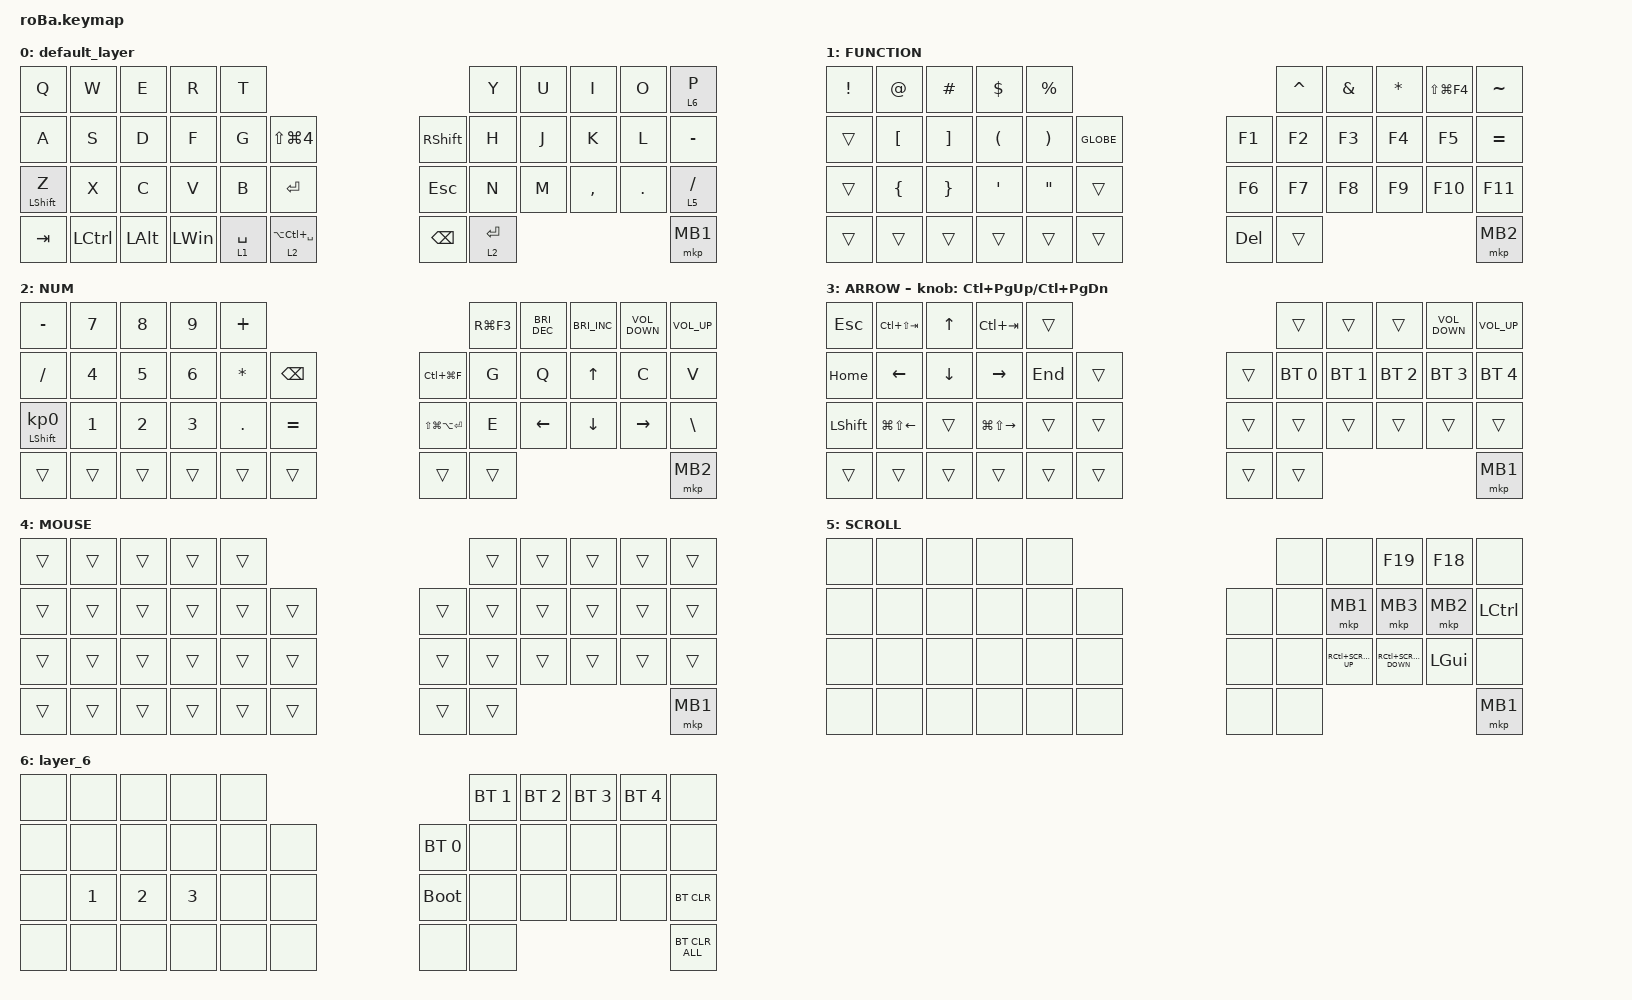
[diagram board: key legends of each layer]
#include <behaviors.dtsi>
#include <dt-bindings/zmk/bt.h>
#include <dt-bindings/zmk/keys.h>
#include <dt-bindings/zmk/pointing.h>

#define MOUSE 4
#define SCROLL 5
#define NUM 6

&mt {
    flavor = "balanced";
    quick-tap-ms = <0>;
};

/ {
    combos {
        compatible = "zmk,combos";

        tab {
            bindings = <&kp TAB>;
            key-positions = <11 12>;
        };

        shift_tab {
            bindings = <&kp LS(TAB)>;
            key-positions = <12 13>;
        };

        muhennkann {
            bindings = <&to_layer_0 INT_MUHENKAN>;
            key-positions = <11 10>;
        };

        double_quotation {
            bindings = <&kp DOUBLE_QUOTES>;
            key-positions = <20 21>;
        };

        eq {
            bindings = <&kp EQUAL>;
            key-positions = <24 25>;
        };

        MB1double {
            bindings = <&mkp MB1>;
            key-positions = <33 42>;
        };
    };

    macros {
        to_layer_0: to_layer_0 {
            compatible = "zmk,behavior-macro-one-param";
            #binding-cells = <1>;
            bindings = <&to 0 &macro_param_1to1 &kp MACRO_PLACEHOLDER>;
            label = "TO_LAYER_0";
        };
    };

    behaviors {
        lt_to_layer_0: lt_to_layer_0 {
            compatible = "zmk,behavior-hold-tap";
            label = "LAYER_TAP_TO_0";
            bindings = <&mo>, <&to_layer_0>;

            #binding-cells = <2>;
            tapping-term-ms = <200>;
        };
    };

    keymap {
        compatible = "zmk,keymap";

        default_layer {
            bindings = <
&kp Q             &kp W      &kp E         &kp R     &kp T                                                             &kp Y        &kp U  &kp I      &kp O       &lt 6 P
&kp A             &kp S      &kp D         &kp F     &kp G        &kp LS(LG(NUMBER_4))                &kp RIGHT_SHIFT  &kp H        &kp J  &kp K      &kp L       &kp MINUS
&mt LEFT_SHIFT Z  &kp X      &kp C         &kp V     &kp B        &kp RET                             &kp ESCAPE       &kp N        &kp M  &kp COMMA  &kp PERIOD  &lt 5 SLASH
&kp TAB           &kp LCTRL  &kp LEFT_ALT  &kp LWIN  &lt 1 SPACE  &lt_to_layer_0 2 LA(LC(SPACE))      &kp BACKSPACE    &lt 2 ENTER                                &mkp MB1
            >;
        };

        FUNCTION {
            bindings = <
&kp EXCLAMATION  &kp AT_SIGN       &kp HASH           &kp DOLLAR            &kp PERCENT                                    &kp CARET  &kp AMPERSAND  &kp ASTERISK  &kp LS(LG(F4))  &kp TILDE
&trans           &kp LEFT_BRACKET  &kp RIGHT_BRACKET  &kp LEFT_PARENTHESIS  &kp RIGHT_PARENTHESIS  &kp GLOBE      &kp F1   &kp F2     &kp F3         &kp F4        &kp F5          &kp EQUAL
&trans           &kp LEFT_BRACE    &kp RIGHT_BRACE    &kp SQT               &kp DOUBLE_QUOTES      &trans         &kp F6   &kp F7     &kp F8         &kp F9        &kp F10         &kp F11
&trans           &trans            &trans             &trans                &trans                 &trans         &kp DEL  &trans                                                  &mkp MB2
            >;
        };

        NUM {
            bindings = <
&kp MINUS                   &kp N7  &kp N8  &kp N9  &kp PLUS                                              &kp RG(F3)  &kp C_BRIGHTNESS_DEC  &kp C_BRIGHTNESS_INC  &kp C_VOLUME_DOWN  &kp C_VOLUME_UP
&kp SLASH                   &kp N4  &kp N5  &kp N6  &kp ASTERISK  &kp BACKSPACE      &kp LC(LG(F))        &kp G       &kp Q                 &kp UP                &kp C              &kp V
&mt LEFT_SHIFT KP_NUMBER_0  &kp N1  &kp N2  &kp N3  &kp PERIOD    &kp EQUAL          &kp LS(LG(LA(RET)))  &kp E       &kp LEFT              &kp DOWN              &kp RIGHT          &kp BACKSLASH
&trans                      &trans  &trans  &trans  &trans        &trans             &trans               &trans                                                                     &mkp MB2
            >;
        };

        ARROW {
            bindings = <
&kp ESCAPE      &kp LC(LS(TAB))         &kp UP_ARROW    &kp LC(TAB)              &trans                       &trans        &trans        &trans        &kp C_VOLUME_DOWN  &kp C_VOLUME_UP
&kp HOME        &kp LEFT_ARROW          &kp DOWN_ARROW  &kp RIGHT_ARROW          &kp END  &trans      &trans  &bt BT_SEL 0  &bt BT_SEL 1  &bt BT_SEL 2  &bt BT_SEL 3       &bt BT_SEL 4
&kp LEFT_SHIFT  &kp LG(LS(LEFT_ARROW))  &trans          &kp LG(LS(RIGHT_ARROW))  &trans   &trans      &trans  &trans        &trans        &trans        &trans             &trans
&trans          &trans                  &trans          &trans                   &trans   &trans      &trans  &trans                                                       &mkp MB1
            >;

            sensor-bindings = <&inc_dec_kp LC(PAGE_UP) LC(PAGE_DOWN)>;
        };

        MOUSE {
            bindings = <
&trans  &trans  &trans  &trans  &trans                      &trans  &trans  &trans  &trans  &trans
&trans  &trans  &trans  &trans  &trans  &trans      &trans  &trans  &trans  &trans  &trans  &trans
&trans  &trans  &trans  &trans  &trans  &trans      &trans  &trans  &trans  &trans  &trans  &trans
&trans  &trans  &trans  &trans  &trans  &trans      &trans  &trans                          &mkp MB1
            >;
        };

        SCROLL {
            bindings = <
&none  &none  &none  &none  &none                    &none  &none         &kp F19          &kp F18         &none
&none  &none  &none  &none  &none  &none      &none  &none  &mkp MB1      &mkp MB3       &mkp MB2      &kp LCTRL
&none  &none  &none  &none  &none  &none      &none  &none  &kp RC(K_SCROLL_UP)  &kp RC(K_SCROLL_DOWN)  &kp LEFT_GUI  &none
&none  &none  &none  &none  &none  &none      &none  &none                                             &mkp MB1
            >;
        };

        layer_6 {
            bindings = <
&none  &none  &none  &none  &none                           &bt BT_SEL 1  &bt BT_SEL 2  &bt BT_SEL 3  &bt BT_SEL 4  &none
&none  &none  &none  &none  &none  &none      &bt BT_SEL 0  &none         &none         &none         &none         &none
&none  &kp N1  &kp N2  &kp N3  &none  &none      &bootloader   &none         &none         &none         &none         &bt BT_CLR
&none  &none  &none  &none  &none  &none      &none         &none                                                   &bt BT_CLR_ALL
            >;
        };
    };
};
